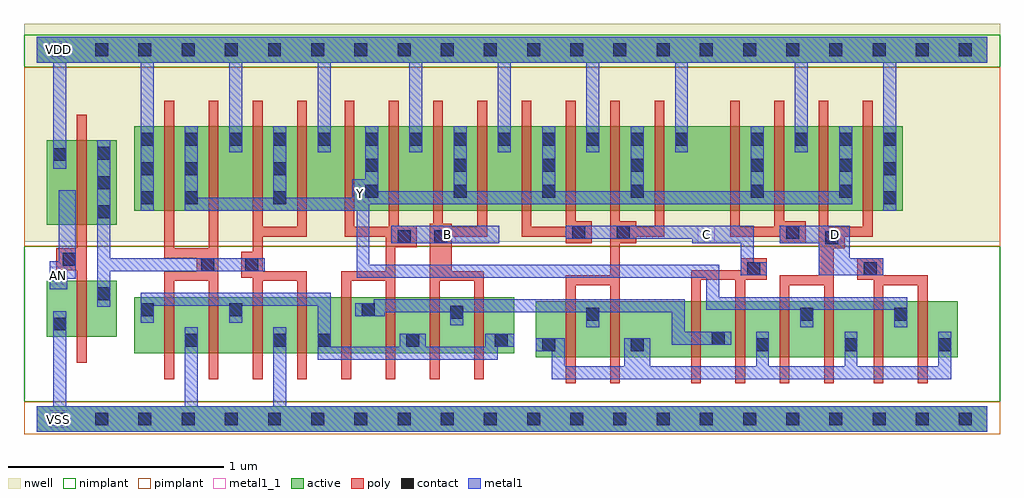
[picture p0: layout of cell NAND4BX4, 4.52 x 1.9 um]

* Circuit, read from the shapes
.subckt NAND4BX4 AN B C D VDD VSS Y
M1 n1 AN VSS VSS nfet w=0.26u l=0.045u
M2 VSS n1 n2 VSS nfet w=0.26u l=0.045u m=4
M3 n3 B n2 VSS nfet w=0.26u l=0.045u m=4
M4 n3 C n4 VSS nfet w=0.26u l=0.045u m=4
M5 Y D n4 VSS nfet w=0.26u l=0.045u m=4
M6 n1 AN VDD VDD pfet w=0.39u l=0.045u
M7 Y n1 VDD VDD pfet w=0.39u l=0.045u m=4
M8 Y B VDD VDD pfet w=0.39u l=0.045u m=4
M9 Y C VDD VDD pfet w=0.39u l=0.045u m=4
M10 Y D VDD VDD pfet w=0.39u l=0.045u m=4
.ends

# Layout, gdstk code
import gdstk
lib = gdstk.Library(unit=1e-6, precision=5e-10)
def R(c, l, rs):  # rectangles x0, y0, x1, y1
    for r in rs: c.add(gdstk.rectangle(r[:2], r[2:], *l))
def A(c, l, x, y, w, h, nx, ny, dx, dy):  # array of equal rectangles
    R(c, l, [(x+i*dx, y+j*dy, x+i*dx+w, y+j*dy+h) for i in range(nx) for j in range(ny)])
def P(c, l, *ps):  # polygons
    for p in ps: c.add(gdstk.Polygon(p, *l))
active = (1, 0)
nwell = (2, 0)
poly = (3, 0)
nimplant = (4, 0)
pimplant = (5, 0)
contact = (6, 0)
metal1 = (7, 0)
metal1_1 = (7, 1)

nand4bx4 = lib.new_cell('NAND4BX4')
R(nand4bx4, active, [(0,-0.06,4.4,0.06), (2.31,0.285,4.265,0.545), (0.45,0.305,2.21,0.565), (0.045,0.38,0.37,0.64), (0.045,0.9,0.37,1.29), (0.45,0.965,4.01,1.355), (0,1.65,4.4,1.77)])
R(nand4bx4, nwell, [(-0.06,0.82,4.46,1.83)])
P(nand4bx4, poly, [(0.59,1.475),(0.635,1.475),(0.635,0.79),(0.795,0.79),(0.795,1.475),(0.84,1.475),(0.84,0.185),(0.795,0.185),(0.795,0.64),(0.635,0.64),(0.635,0.185),(0.59,0.185),(0.59,0.685),(0.74,0.685),(0.74,0.745),(0.59,0.745)],
  [(1,1.475),(1.045,1.475),(1.045,0.89),(1.205,0.89),(1.205,1.475),(1.25,1.475),(1.25,0.845),(1.045,0.845),(1.045,0.685),(1.25,0.685),(1.25,0.185),(1.205,0.185),(1.205,0.64),(1.045,0.64),(1.045,0.185),(1,0.185),(1,0.655),(0.945,0.655),(0.945,0.775),(1,0.775)],
  [(1.425,1.475),(1.47,1.475),(1.47,0.89),(1.63,0.89),(1.63,1.475),(1.675,1.475),(1.675,0.895),(1.76,0.895),(1.76,0.795),(1.66,0.795),(1.66,0.185),(1.615,0.185),(1.615,0.64),(1.455,0.64),(1.455,0.185),(1.41,0.185),(1.41,0.685),(1.615,0.685),(1.615,0.845),(1.425,0.845)],
  [(1.835,1.475),(1.88,1.475),(1.88,0.905),(1.92,0.905),(1.92,0.89),(2.04,0.89),(2.04,1.475),(2.085,1.475),(2.085,0.845),(1.92,0.845),(1.92,0.685),(2.07,0.685),(2.07,0.185),(2.025,0.185),(2.025,0.64),(1.865,0.64),(1.865,0.185),(1.82,0.185),(1.82,0.905),(1.835,0.905)],
  [(2.245,1.475),(2.29,1.475),(2.29,0.89),(2.45,0.89),(2.45,1.475),(2.495,1.475),(2.495,0.915),(2.57,0.915),(2.57,0.815),(2.45,0.815),(2.45,0.845),(2.245,0.845)],
  [(2.655,1.475),(2.7,1.475),(2.7,0.915),(2.775,0.915),(2.775,0.89),(2.86,0.89),(2.86,1.475),(2.905,1.475),(2.905,0.845),(2.775,0.845),(2.775,0.815),(2.7,0.815),(2.7,0.165),(2.655,0.165),(2.655,0.62),(2.495,0.62),(2.495,0.165),(2.45,0.165),(2.45,0.665),(2.655,0.665)],
  [(3.21,1.475),(3.255,1.475),(3.255,0.89),(3.415,0.89),(3.415,1.475),(3.46,1.475),(3.46,0.915),(3.56,0.915),(3.56,0.815),(3.44,0.815),(3.44,0.845),(3.21,0.845)],
  [(3.62,1.475),(3.665,1.475),(3.665,0.89),(3.825,0.89),(3.825,1.475),(3.87,1.475),(3.87,0.845),(3.74,0.845),(3.74,0.79),(3.69,0.79),(3.69,0.165),(3.645,0.165),(3.645,0.62),(3.485,0.62),(3.485,0.165),(3.44,0.165),(3.44,0.665),(3.62,0.665)],
  [(0.185,1.41),(0.23,1.41),(0.23,0.26),(0.185,0.26),(0.185,0.69),(0.09,0.69),(0.09,0.79),(0.185,0.79)],
  [(3.26,0.745),(3.38,0.745),(3.38,0.645),(3.28,0.645),(3.28,0.165),(3.235,0.165),(3.235,0.645),(3.075,0.645),(3.075,0.165),(3.03,0.165),(3.03,0.69),(3.26,0.69)],
  [(3.8,0.745),(3.92,0.745),(3.92,0.665),(4.125,0.665),(4.125,0.165),(4.08,0.165),(4.08,0.62),(3.92,0.62),(3.92,0.165),(3.875,0.165),(3.875,0.645),(3.8,0.645)])
R(nand4bx4, nimplant, [(-0.06,0.08,4.46,0.8), (-0.06,1.63,4.46,1.78)])
R(nand4bx4, pimplant, [(-0.06,-0.07,4.46,0.08), (-0.06,0.8,4.46,1.63)])
A(nand4bx4, contact, 0.07, -0.03, 0.06, 0.06, 22, 2, 0.2, 1.71)
A(nand4bx4, contact, 1.3, 0.335, 0.06, 0.06, 3, 1, 0.41, 0)
A(nand4bx4, contact, 0.28, 0.93, 0.06, 0.06, 1, 3, 0, 0.135)
A(nand4bx4, contact, 1.52, 1.025, 0.06, 0.06, 4, 2, 0.41, 0.12)
A(nand4bx4, contact, 0.48, 1.265, 0.06, 0.06, 5, 1, 0.205, 0)
A(nand4bx4, contact, 1.52, 1.265, 0.06, 0.06, 8, 1, 0.205, 0)
A(nand4bx4, contact, 3.305, 1.265, 0.06, 0.06, 4, 1, 0.205, 0)
R(nand4bx4, contact, [(2.34,0.315,2.4,0.375), (2.75,0.315,2.81,0.375), (3.33,0.315,3.39,0.375), (3.74,0.315,3.8,0.375), (4.175,0.315,4.235,0.375), (0.685,0.335,0.745,0.395), (1.095,0.335,1.155,0.395), (3.125,0.345,3.185,0.405), (0.075,0.41,0.135,0.47), (2.545,0.455,2.605,0.515), (3.535,0.455,3.595,0.515), (3.97,0.455,4.03,0.515), (1.915,0.465,1.975,0.525), (0.48,0.475,0.54,0.535), (0.89,0.475,0.95,0.535), (1.505,0.475,1.565,0.535), (0.28,0.55,0.34,0.61), (3.29,0.665,3.35,0.725), (3.83,0.665,3.89,0.725), (0.76,0.685,0.82,0.745), (0.965,0.685,1.025,0.745), (0.12,0.71,0.18,0.77), (3.65,0.81,3.71,0.87), (1.67,0.815,1.73,0.875), (1.84,0.815,1.9,0.875), (2.48,0.835,2.54,0.895), (2.685,0.835,2.745,0.895), (3.47,0.835,3.53,0.895), (0.48,0.995,0.54,1.055), (0.685,0.995,0.745,1.055), (1.095,0.995,1.155,1.055), (3.92,0.995,3.98,1.055), (3.305,1.025,3.365,1.085), (3.715,1.025,3.775,1.085), (0.48,1.13,0.54,1.19), (0.685,1.13,0.745,1.19), (1.095,1.13,1.155,1.19), (3.92,1.13,3.98,1.19), (3.305,1.145,3.365,1.205), (3.715,1.145,3.775,1.205), (0.075,1.195,0.135,1.255)])
R(nand4bx4, metal1, [(1.64,0.815,2.14,0.895)])
P(nand4bx4, metal1, [(2.31,0.375),(2.445,0.375),(2.445,0.245),(2.72,0.245),(2.72,0.375),(2.84,0.375),(2.84,0.245),(3.33,0.245),(3.33,0.405),(3.39,0.405),(3.39,0.245),(3.74,0.245),(3.74,0.405),(3.8,0.405),(3.8,0.245),(4.175,0.245),(4.175,0.405),(4.235,0.405),(4.235,0.185),(2.385,0.185),(2.385,0.315),(2.31,0.315)],
  [(0,1.77),(4.4,1.77),(4.4,1.65),(3.98,1.65),(3.98,0.965),(3.92,0.965),(3.92,1.65),(3.57,1.65),(3.57,1.235),(3.51,1.235),(3.51,1.65),(3.015,1.65),(3.015,1.235),(2.955,1.235),(2.955,1.65),(2.605,1.65),(2.605,1.235),(2.545,1.235),(2.545,1.65),(2.195,1.65),(2.195,1.235),(2.135,1.235),(2.135,1.65),(1.785,1.65),(1.785,1.235),(1.725,1.235),(1.725,1.65),(1.36,1.65),(1.36,1.235),(1.3,1.235),(1.3,1.65),(0.95,1.65),(0.95,1.235),(0.89,1.235),(0.89,1.65),(0.54,1.65),(0.54,0.965),(0.48,0.965),(0.48,1.65),(0.135,1.65),(0.135,1.16),(0.075,1.16),(0.075,1.65),(0,1.65)],
  [(0.28,1.29),(0.34,1.29),(0.34,0.745),(1.055,0.745),(1.055,0.685),(0.34,0.685),(0.34,0.52),(0.28,0.52)],
  [(0.685,1.355),(0.745,1.355),(0.745,1.025),(1.095,1.025),(1.095,1.355),(1.155,1.355),(1.155,1.025),(1.46,1.025),(1.46,1.11),(1.52,1.11),(1.52,1.355),(1.58,1.355),(1.58,1.055),(1.93,1.055),(1.93,1.355),(1.99,1.355),(1.99,1.055),(2.34,1.055),(2.34,1.355),(2.4,1.355),(2.4,1.055),(2.75,1.055),(2.75,1.355),(2.81,1.355),(2.81,1.055),(3.305,1.055),(3.305,1.355),(3.365,1.355),(3.365,1.055),(3.715,1.055),(3.715,1.355),(3.775,1.355),(3.775,0.995),(1.54,0.995),(1.54,0.715),(3.16,0.715),(3.16,0.565),(4.03,0.565),(4.03,0.425),(3.97,0.425),(3.97,0.505),(3.595,0.505),(3.595,0.425),(3.535,0.425),(3.535,0.505),(3.1,0.505),(3.1,0.655),(1.48,0.655),(1.48,0.965),(0.685,0.965)],
  [(0.1,1.06),(0.18,1.06),(0.18,0.65),(0.14,0.65),(0.14,0.6),(0.06,0.6),(0.06,0.73),(0.1,0.73)],
  [(2.45,0.895),(3.32,0.895),(3.32,0.725),(3.38,0.725),(3.38,0.665),(3.26,0.665),(3.26,0.815),(3.035,0.815),(3.035,0.835),(2.45,0.835)],
  [(3.44,0.895),(3.765,0.895),(3.765,0.745),(3.92,0.745),(3.92,0.665),(3.62,0.665),(3.62,0.815),(3.44,0.815)],
  [(0.075,0.5),(0.135,0.5),(0.135,0.06),(0.685,0.06),(0.685,0.425),(0.745,0.425),(0.745,0.06),(1.095,0.06),(1.095,0.425),(1.155,0.425),(1.155,0.06),(4.4,0.06),(4.4,-0.06),(0,-0.06),(0,0.06),(0.075,0.06)],
  [(0.48,0.585),(1.36,0.585),(1.36,0.335),(1.68,0.335),(1.68,0.395),(1.8,0.395),(1.8,0.335),(2.075,0.335),(2.075,0.395),(2.21,0.395),(2.21,0.335),(2.135,0.335),(2.135,0.275),(1.3,0.275),(1.3,0.525),(0.95,0.525),(0.95,0.445),(0.89,0.445),(0.89,0.525),(0.54,0.525),(0.54,0.445),(0.48,0.445)],
  [(1.56,0.555),(3,0.555),(3,0.405),(3.215,0.405),(3.215,0.345),(2.94,0.345),(2.94,0.495),(2.605,0.495),(2.605,0.425),(2.545,0.425),(2.545,0.495),(1.975,0.495),(1.975,0.435),(1.915,0.435),(1.915,0.495),(1.61,0.495),(1.61,0.475),(1.475,0.475),(1.475,0.535),(1.56,0.535)])
R(nand4bx4, metal1_1, [(0.06,-0.04,0.14,0.04), (0.06,0.625,0.14,0.705), (1.86,0.815,1.94,0.895), (3.06,0.815,3.14,0.895), (3.66,0.815,3.74,0.895), (1.46,1.005,1.54,1.085), (0.06,1.67,0.14,1.75)])
nand4bx4.add(gdstk.Label('Y', (1.5,1.045), layer=7, texttype=1))
nand4bx4.add(gdstk.Label('AN', (0.1,0.665), layer=7, texttype=1))
nand4bx4.add(gdstk.Label('B', (1.9,0.855), layer=7, texttype=1))
nand4bx4.add(gdstk.Label('C', (3.1,0.855), layer=7, texttype=1))
nand4bx4.add(gdstk.Label('D', (3.7,0.855), layer=7, texttype=1))
nand4bx4.add(gdstk.Label('VDD', (0.1,1.71), layer=7, texttype=1))
nand4bx4.add(gdstk.Label('VSS', (0.1,0), layer=7, texttype=1))
nand4bx4.add(gdstk.Label('NAND4BX4', (0,0), layer=63, texttype=0))

lib.write_gds('NAND4BX4.gds')
